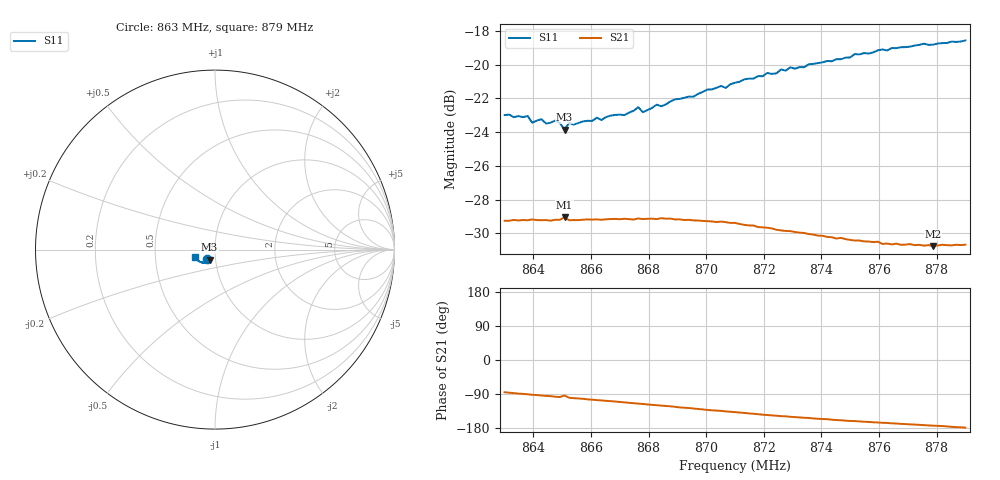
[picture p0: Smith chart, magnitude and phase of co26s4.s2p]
# HZ S RI R 50
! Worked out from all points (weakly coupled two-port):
!   101 points, 863 MHz to 879 MHz, reference 50 ohm
!   highest |S21| = -29.04 dB at 865.08 MHz (marker M1); lowest = -30.8 dB at 877.88 MHz (marker M2)
!   lowest |S11| = -23.9 dB at 865.08 MHz (marker M3), VSWR 1.14, Z = 46.7 - j5.3 ohm
!   |S11| at or under -10 dB: start of sweep to end of sweep
!   S12 and S22 are empty: the file has one direction only
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8.63e8  -0.0449 -0.0548  0.00296 -0.0343  0 0  0 0
8.638e8  -0.0443 -0.0548  -0.000248 -0.0346  0 0  0 0
8.6396e8  -0.04 -0.0541  -0.00109 -0.0348  0 0  0 0
8.6428e8  -0.0394 -0.0565  -0.00222 -0.0345  0 0  0 0
8.6444e8  -0.0385 -0.0547  -0.00285 -0.0345  0 0  0 0
8.6476e8  -0.0388 -0.0562  -0.00418 -0.0344  0 0  0 0
8.6508e8  -0.0305 -0.0564  -0.00223 -0.0352  0 0  0 0
8.6524e8  -0.0365 -0.0565  -0.00579 -0.0341  0 0  0 0
8.6572e8  -0.0356 -0.0578  -0.00743 -0.0339  0 0  0 0
8.6716e8  -0.0352 -0.0615  -0.013 -0.0324  0 0  0 0
8.6764e8  -0.0371 -0.065  -0.0149 -0.0317  0 0  0 0
8.678e8  -0.0349 -0.0633  -0.0153 -0.0313  0 0  0 0
8.6828e8  -0.0372 -0.0664  -0.0171 -0.0304  0 0  0 0
8.6844e8  -0.0367 -0.0656  -0.0177 -0.0303  0 0  0 0
8.6892e8  -0.0388 -0.0686  -0.0193 -0.0289  0 0  0 0
8.7052e8  -0.0469 -0.0725  -0.0239 -0.0245  0 0  0 0
8.7068e8  -0.0465 -0.0715  -0.0244 -0.0239  0 0  0 0
8.71e8  -0.0492 -0.0734  -0.0251 -0.0229  0 0  0 0
8.7372e8  -0.0677 -0.0742  -0.0283 -0.0136  0 0  0 0
8.7644e8  -0.0931 -0.0621  -0.0286 -0.00649  0 0  0 0
8.7788e8  -0.1032 -0.0495  -0.0288 -0.0034  0 0  0 0
8.79e8  -0.1114 -0.0385  -0.0293 -0.000768  0 0  0 0
